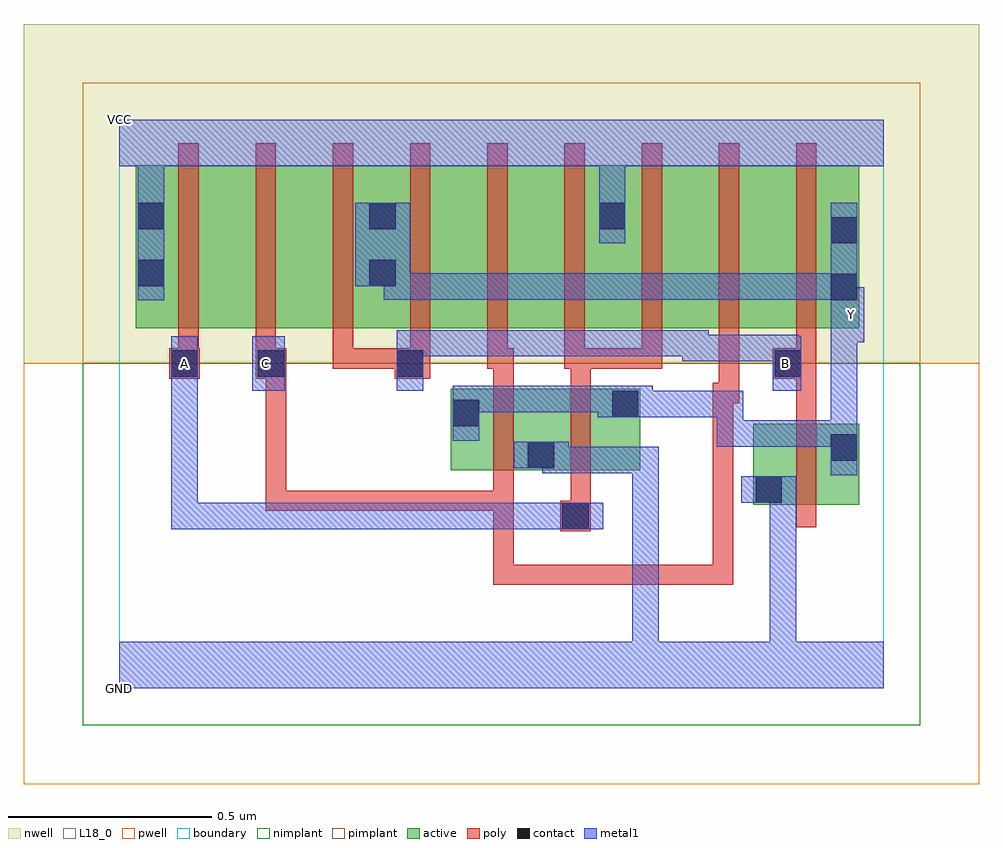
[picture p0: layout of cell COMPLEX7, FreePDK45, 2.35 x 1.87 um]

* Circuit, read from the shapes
.subckt COMPLEX7 A B C GND VCC Y
M1 GND C Y VSUBS nfet w=0.2u l=0.05u
M2 Y A GND VSUBS nfet w=0.2u l=0.05u
M3 Y B GND VSUBS nfet w=0.2u l=0.05u
M4 n1 A VCC n2 pfet w=0.4u l=0.05u
M5 n3 C n1 n2 pfet w=0.4u l=0.05u
M6 Y B n3 n2 pfet w=0.4u l=0.05u
M7 n4 B Y n2 pfet w=0.4u l=0.05u
M8 n5 C n4 n2 pfet w=0.4u l=0.05u
M9 VCC A n5 n2 pfet w=0.4u l=0.05u
M10 n6 A VCC n2 pfet w=0.4u l=0.05u
M11 n7 C n6 n2 pfet w=0.4u l=0.05u
M12 Y B n7 n2 pfet w=0.4u l=0.05u
.ends

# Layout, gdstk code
import gdstk
lib = gdstk.Library(unit=1e-6, precision=1e-09)
def R(c, l, rs):  # rectangles x0, y0, x1, y1
    for r in rs: c.add(gdstk.rectangle(r[:2], r[2:], *l))
def A(c, l, x, y, w, h, nx, ny, dx, dy):  # array of equal rectangles
    R(c, l, [(x+i*dx, y+j*dy, x+i*dx+w, y+j*dy+h) for i in range(nx) for j in range(ny)])
active = (1, 0)
pwell = (2, 0)
nwell = (3, 0)
nimplant = (4, 0)
pimplant = (5, 0)
poly = (9, 0)
contact = (10, 0)
metal1 = (11, 0)
L18_0 = (18, 0)
boundary = (235, 0)

complex7 = lib.new_cell('COMPLEX7')
A(complex7, active, 0.265, 0.887, 0.19, 0.4, 3, 1, 0.57, 0)
R(complex7, active, [(1.56,0.452,1.82,0.652), (1.56,0.452,1.635,0.652), (1.745,0.532,1.82,0.652), (0.815,0.537,1.075,0.737), (1,0.537,1.282,0.737), (1,0.537,1.075,0.612), (0.815,0.545,0.89,0.737), (1.207,0.545,1.282,0.737), (0.04,0.887,0.265,1.287), (0.04,0.887,0.115,1.255), (0.455,0.887,0.685,1.287), (0.61,0.887,0.835,1.287), (1.025,0.887,1.25,1.287), (1.175,0.887,1.405,1.287), (1.595,0.887,1.82,1.287), (1.745,0.887,1.82,1.2), (0.61,0.907,0.685,1.2), (1.175,0.907,1.25,1.255)])
R(complex7, pwell, [(-0.235,-0.235,2.115,0.8)])
R(complex7, nwell, [(-0.235,0.8,2.115,1.635)])
R(complex7, nimplant, [(-0.09,-0.09,1.97,0.8)])
R(complex7, pimplant, [(-0.09,0.8,1.97,1.49)])
A(complex7, poly, 0.145, 0.787, 0.05, 0.095, 7, 1, 0.19, 0)
A(complex7, poly, 0.145, 0.832, 0.05, 0.51, 9, 1, 0.19, 0)
R(complex7, poly, [(0.92,0.255,0.97,0.305), (0.92,0.255,0.97,0.305), (0.92,0.255,0.97,0.305), (0.92,0.255,1.16,0.305), (0.92,0.255,0.97,0.487), (1.11,0.255,1.16,0.305), (1.11,0.255,1.16,0.305), (1.11,0.255,1.16,0.305), (1.11,0.255,1.292,0.305), (1.242,0.255,1.292,0.305), (1.242,0.255,1.292,0.305), (1.242,0.255,1.292,0.305), (1.242,0.255,1.51,0.305), (1.46,0.255,1.51,0.752), (1.46,0.255,1.51,0.305), (1.46,0.255,1.51,0.305), (1.46,0.255,1.51,0.305), (1.46,0.255,1.51,0.305), (1.46,0.255,1.51,0.305), (1.46,0.255,1.51,0.305), (1.46,0.255,1.51,0.305), (1.085,0.387,1.16,0.462), (1.665,0.397,1.715,0.707), (1.11,0.412,1.16,0.532), (0.36,0.437,0.41,0.487), (0.36,0.437,0.41,0.487), (0.36,0.437,0.41,0.487), (0.36,0.437,0.41,0.487), (0.36,0.437,0.41,0.487), (0.36,0.437,0.41,0.487), (0.36,0.437,0.41,0.487), (0.36,0.437,0.542,0.487), (0.36,0.437,0.41,0.812), (0.492,0.437,0.542,0.487), (0.492,0.437,0.542,0.487), (0.492,0.437,0.542,0.487), (0.492,0.437,0.822,0.487), (0.772,0.437,0.822,0.487), (0.772,0.437,0.822,0.487), (0.772,0.437,0.822,0.487), (0.772,0.437,0.97,0.487), (0.92,0.437,0.97,0.532), (0.92,0.437,0.97,0.487), (0.92,0.482,0.97,0.792), (1.11,0.482,1.16,0.792), (1.665,0.657,1.715,0.812), (1.46,0.702,1.525,0.752), (1.475,0.702,1.525,0.882), (0.92,0.742,0.97,0.837), (1.11,0.742,1.16,0.837), (0.122,0.762,0.197,0.837), (0.335,0.762,0.41,0.837), (0.677,0.762,0.765,0.837), (1.607,0.762,1.715,0.837), (0.525,0.787,0.575,0.837), (0.525,0.787,0.575,0.837), (0.525,0.787,0.575,0.837), (0.525,0.787,0.727,0.837), (0.905,0.787,0.97,0.837), (1.095,0.787,1.16,0.837), (1.11,0.787,1.16,0.837), (1.11,0.787,1.16,0.837), (1.11,0.787,1.335,0.837), (1.285,0.787,1.335,0.837), (1.665,0.787,1.715,0.882)])
R(complex7, contact, [(1.09,0.392,1.155,0.457), (1.565,0.457,1.63,0.522), (1.005,0.542,1.07,0.607), (1.75,0.56,1.815,0.625), (0.82,0.645,0.885,0.71), (1.212,0.667,1.277,0.732), (0.127,0.767,0.192,0.832), (0.34,0.767,0.405,0.832), (0.682,0.767,0.747,0.832), (1.612,0.767,1.677,0.832), (1.75,0.955,1.815,1.02), (0.045,0.99,0.11,1.055), (0.615,0.99,0.68,1.055), (1.75,1.095,1.815,1.16), (0.045,1.13,0.11,1.195), (0.615,1.13,0.68,1.195), (1.18,1.13,1.245,1.195)])
R(complex7, metal1, [(0,0,1.88,0.115), (1.262,0.05,1.327,0.115), (1.262,0.05,1.327,0.115), (1.262,0.05,1.327,0.595), (1.6,0.05,1.665,0.115), (1.6,0.05,1.665,0.115), (1.6,0.05,1.665,0.115), (1.6,0.05,1.665,0.115), (1.6,0.05,1.665,0.115), (1.6,0.05,1.665,0.115), (1.6,0.05,1.665,0.115), (1.6,0.05,1.665,0.115), (1.6,0.05,1.665,0.522), (0.127,0.392,0.192,0.457), (0.127,0.392,0.44,0.457), (0.127,0.392,0.192,0.797), (0.375,0.392,0.44,0.457), (0.375,0.392,0.44,0.457), (0.375,0.392,0.44,0.457), (0.375,0.392,0.577,0.457), (0.512,0.392,0.577,0.457), (0.512,0.392,0.747,0.457), (0.682,0.392,0.747,0.457), (0.682,0.392,0.747,0.457), (0.682,0.392,0.747,0.457), (0.682,0.392,0.747,0.457), (0.682,0.392,0.747,0.457), (0.682,0.392,0.747,0.457), (0.682,0.392,0.747,0.457), (0.682,0.392,0.885,0.457), (0.82,0.392,0.885,0.457), (0.82,0.392,0.885,0.457), (0.82,0.392,0.885,0.457), (0.82,0.392,1.105,0.457), (1.04,0.392,1.105,0.457), (1.04,0.392,1.12,0.457), (1.055,0.392,1.19,0.457), (1.53,0.457,1.665,0.522), (1.75,0.525,1.815,0.66), (1.04,0.53,1.105,0.607), (1.04,0.53,1.327,0.595), (1.262,0.53,1.327,0.595), (1.262,0.53,1.327,0.595), (1.262,0.53,1.327,0.595), (1.262,0.53,1.327,0.595), (1.262,0.53,1.327,0.595), (1.262,0.53,1.327,0.595), (1.262,0.53,1.327,0.595), (0.97,0.542,1.105,0.607), (1.04,0.542,1.105,0.607), (1.47,0.595,1.665,0.66), (1.47,0.595,1.535,0.732), (1.6,0.595,1.665,0.66), (1.6,0.595,1.815,0.66), (1.75,0.595,1.815,0.66), (1.75,0.595,1.815,0.66), (1.75,0.595,1.815,0.917), (0.82,0.61,0.885,0.745), (1.177,0.667,1.312,0.745), (1.247,0.667,1.39,0.732), (1.325,0.667,1.39,0.732), (1.325,0.667,1.45,0.732), (1.385,0.667,1.45,0.732), (1.385,0.667,1.535,0.732), (0.82,0.68,0.885,0.745), (0.82,0.68,0.885,0.745), (0.82,0.68,1.105,0.745), (1.04,0.68,1.105,0.745), (1.04,0.68,1.105,0.745), (1.04,0.68,1.105,0.745), (1.04,0.68,1.242,0.745), (0.127,0.732,0.192,0.797), (0.127,0.732,0.192,0.797), (0.127,0.732,0.192,0.867), (0.327,0.732,0.407,0.867), (0.682,0.732,0.747,0.882), (1.607,0.732,1.677,0.867), (1.607,0.802,1.672,0.867), (1.607,0.802,1.672,0.87), (1.385,0.805,1.527,0.87), (1.385,0.805,1.45,0.882), (1.462,0.805,1.527,0.87), (1.462,0.805,1.672,0.87), (0.682,0.817,0.897,0.882), (0.832,0.817,0.897,0.882), (0.832,0.817,0.897,0.882), (0.832,0.817,0.897,0.882), (0.832,0.817,1.067,0.882), (1.002,0.817,1.067,0.882), (1.002,0.817,1.067,0.882), (1.002,0.817,1.067,0.882), (1.002,0.817,1.312,0.882), (1.247,0.817,1.312,0.882), (1.247,0.817,1.327,0.882), (1.262,0.817,1.327,0.882), (1.262,0.817,1.45,0.882), (1.75,0.852,1.832,0.987), (1.75,0.92,1.815,0.985), (1.75,0.92,1.815,1.195), (0.045,0.955,0.11,1.23), (0.65,0.957,0.897,1.022), (0.65,0.957,0.715,1.055), (0.832,0.957,0.897,1.022), (0.832,0.957,0.897,1.022), (0.832,0.957,0.897,1.022), (0.832,0.957,1.105,1.022), (1.04,0.957,1.105,1.022), (1.04,0.957,1.105,1.022), (1.04,0.957,1.105,1.022), (1.04,0.957,1.242,1.022), (1.177,0.957,1.242,1.022), (1.177,0.957,1.327,1.022), (1.262,0.957,1.327,1.022), (1.262,0.957,1.45,1.022), (1.385,0.957,1.45,1.022), (1.385,0.957,1.535,1.022), (1.47,0.957,1.535,1.022), (1.47,0.957,1.672,1.022), (1.607,0.957,1.672,1.022), (1.607,0.957,1.672,1.022), (1.607,0.957,1.672,1.022), (1.607,0.957,1.815,1.022), (0.58,0.99,0.715,1.195), (0.65,0.99,0.715,1.055), (1.18,1.095,1.245,1.23), (0.045,1.165,0.11,1.35), (1.18,1.165,1.245,1.35), (0,1.285,1.88,1.4)])
R(complex7, L18_0, [(0,0,1.88,0.115), (1.262,0.05,1.327,0.115), (1.262,0.05,1.327,0.115), (1.262,0.05,1.327,0.595), (1.6,0.05,1.665,0.115), (1.6,0.05,1.665,0.115), (1.6,0.05,1.665,0.115), (1.6,0.05,1.665,0.115), (1.6,0.05,1.665,0.115), (1.6,0.05,1.665,0.115), (1.6,0.05,1.665,0.115), (1.6,0.05,1.665,0.115), (1.6,0.05,1.665,0.522), (0.127,0.392,0.192,0.457), (0.127,0.392,0.192,0.797), (0.127,0.392,0.44,0.457), (0.375,0.392,0.44,0.457), (0.375,0.392,0.44,0.457), (0.375,0.392,0.44,0.457), (0.375,0.392,0.577,0.457), (0.512,0.392,0.577,0.457), (0.512,0.392,0.747,0.457), (0.682,0.392,0.747,0.457), (0.682,0.392,0.747,0.457), (0.682,0.392,0.747,0.457), (0.682,0.392,0.747,0.457), (0.682,0.392,0.747,0.457), (0.682,0.392,0.747,0.457), (0.682,0.392,0.747,0.457), (0.682,0.392,0.885,0.457), (0.82,0.392,0.885,0.457), (0.82,0.392,0.885,0.457), (0.82,0.392,0.885,0.457), (0.82,0.392,1.105,0.457), (1.04,0.392,1.105,0.457), (1.04,0.392,1.12,0.457), (1.055,0.392,1.19,0.457), (1.53,0.457,1.665,0.522), (1.75,0.525,1.815,0.66), (1.04,0.53,1.105,0.607), (1.04,0.53,1.327,0.595), (1.262,0.53,1.327,0.595), (1.262,0.53,1.327,0.595), (1.262,0.53,1.327,0.595), (1.262,0.53,1.327,0.595), (1.262,0.53,1.327,0.595), (1.262,0.53,1.327,0.595), (1.262,0.53,1.327,0.595), (0.97,0.542,1.105,0.607), (1.04,0.542,1.105,0.607), (1.47,0.595,1.535,0.732), (1.47,0.595,1.665,0.66), (1.6,0.595,1.665,0.66), (1.6,0.595,1.815,0.66), (1.75,0.595,1.815,0.66), (1.75,0.595,1.815,0.66), (1.75,0.595,1.815,0.917), (0.82,0.61,0.885,0.745), (1.177,0.667,1.312,0.745), (1.247,0.667,1.39,0.732), (1.325,0.667,1.39,0.732), (1.325,0.667,1.45,0.732), (1.385,0.667,1.45,0.732), (1.385,0.667,1.535,0.732), (0.82,0.68,0.885,0.745), (0.82,0.68,0.885,0.745), (0.82,0.68,1.105,0.745), (1.04,0.68,1.105,0.745), (1.04,0.68,1.105,0.745), (1.04,0.68,1.105,0.745), (1.04,0.68,1.242,0.745), (0.127,0.732,0.192,0.867), (0.127,0.732,0.192,0.797), (0.127,0.732,0.192,0.797), (0.327,0.732,0.407,0.867), (0.682,0.732,0.747,0.882), (1.607,0.732,1.677,0.867), (0.127,0.767,0.192,0.832), (0.327,0.767,0.392,0.832), (1.607,0.767,1.672,0.832), (1.607,0.802,1.672,0.867), (1.607,0.802,1.672,0.87), (1.385,0.805,1.45,0.882), (1.385,0.805,1.527,0.87), (1.462,0.805,1.527,0.87), (1.462,0.805,1.672,0.87), (0.682,0.817,0.897,0.882), (0.832,0.817,0.897,0.882), (0.832,0.817,0.897,0.882), (0.832,0.817,0.897,0.882), (0.832,0.817,1.067,0.882), (1.002,0.817,1.067,0.882), (1.002,0.817,1.067,0.882), (1.002,0.817,1.067,0.882), (1.002,0.817,1.312,0.882), (1.247,0.817,1.312,0.882), (1.247,0.817,1.327,0.882), (1.262,0.817,1.327,0.882), (1.262,0.817,1.45,0.882), (1.75,0.852,1.832,0.987), (1.767,0.887,1.832,0.952), (1.75,0.92,1.815,1.195), (1.75,0.92,1.815,0.985), (0.045,0.955,0.11,1.23), (0.65,0.957,0.715,1.055), (0.65,0.957,0.897,1.022), (0.832,0.957,0.897,1.022), (0.832,0.957,0.897,1.022), (0.832,0.957,0.897,1.022), (0.832,0.957,1.105,1.022), (1.04,0.957,1.105,1.022), (1.04,0.957,1.105,1.022), (1.04,0.957,1.105,1.022), (1.04,0.957,1.242,1.022), (1.177,0.957,1.242,1.022), (1.177,0.957,1.327,1.022), (1.262,0.957,1.327,1.022), (1.262,0.957,1.45,1.022), (1.385,0.957,1.45,1.022), (1.385,0.957,1.535,1.022), (1.47,0.957,1.535,1.022), (1.47,0.957,1.672,1.022), (1.607,0.957,1.672,1.022), (1.607,0.957,1.672,1.022), (1.607,0.957,1.672,1.022), (1.607,0.957,1.815,1.022), (0.58,0.99,0.715,1.195), (0.65,0.99,0.715,1.055), (1.18,1.095,1.245,1.23), (0.045,1.165,0.11,1.35), (1.18,1.165,1.245,1.35), (0,1.285,1.88,1.4)])
R(complex7, boundary, [(0,0,1.88,1.4)])
complex7.add(gdstk.Label('A', (0.16,0.8), layer=11, texttype=0))
complex7.add(gdstk.Label('B', (1.64,0.8), layer=11, texttype=0))
complex7.add(gdstk.Label('C', (0.36,0.8), layer=11, texttype=0))
complex7.add(gdstk.Label('Y', (1.8,0.92), layer=11, texttype=0))
complex7.add(gdstk.Label('VCC', (0,1.4), layer=11, texttype=0))
complex7.add(gdstk.Label('GND', (0,0), layer=11, texttype=0))

lib.write_gds('COMPLEX7.gds')
